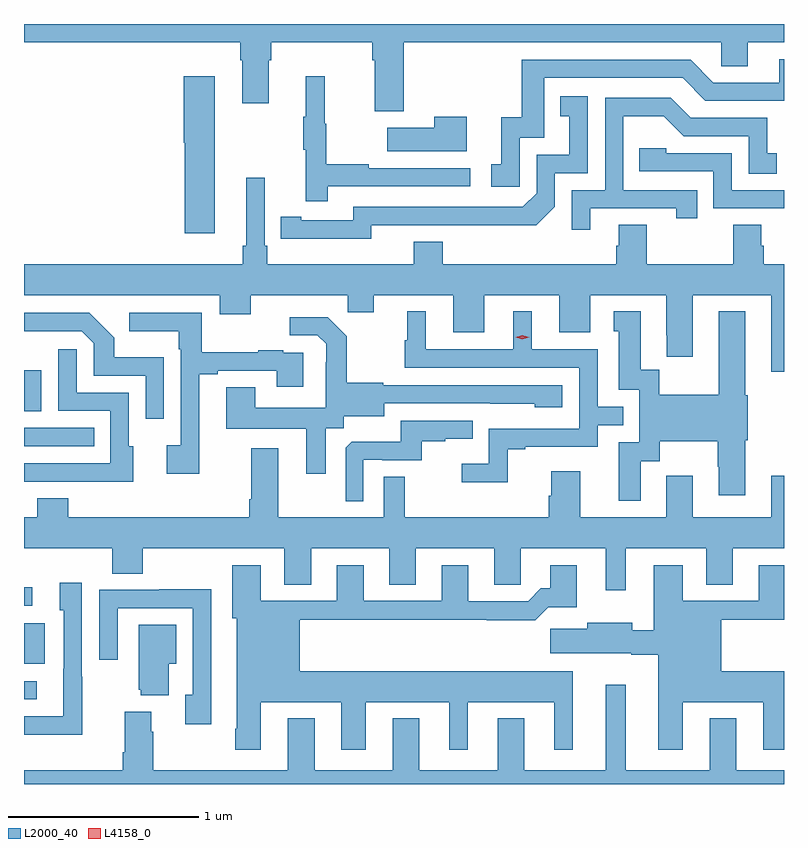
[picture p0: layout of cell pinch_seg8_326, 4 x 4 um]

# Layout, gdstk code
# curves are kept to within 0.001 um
import gdstk
lib = gdstk.Library(unit=1e-6, precision=1e-09)
def R(c, l, rs):  # rectangles x0, y0, x1, y1
    for r in rs: c.add(gdstk.rectangle(r[:2], r[2:], *l))
def P(c, l, *ps):  # polygons
    for p in ps: c.add(gdstk.Polygon(p, *l))
L2000_40 = (2000, 40)
L4158_0 = (4158, 0)

pinch_seg8_326 = lib.new_cell('pinch_seg8_326')
R(pinch_seg8_326, L2000_40, [(397.16,1122.366,397.228,1122.462), (397.16,1122.554,397.27,1122.766), (397.16,1122.858,397.204,1122.956), (397.16,1123.698,397.529,1123.794), (397.16,1123.883,397.252,1124.098)])
P(pinch_seg8_326, L2000_40, [(399.158,1125.824),(400.83,1125.824),(400.83,1125.697),(400.969,1125.697),(400.969,1125.824),(401.16,1125.824),(401.16,1125.92),(397.16,1125.92),(397.16,1125.824),(398.297,1125.824),(398.297,1125.728),(398.309,1125.728),(398.309,1125.504),(398.449,1125.504),(398.449,1125.728),(398.462,1125.728),(398.462,1125.824),(398.993,1125.824),(398.993,1125.728),(399.005,1125.728),(399.005,1125.462),(399.158,1125.462)],
  [(399.768,1125.321),(399.897,1125.321),(399.897,1125.636),(400.626,1125.636),(400.746,1125.516),(401.16,1125.516),(401.16,1125.735),(401.135,1125.735),(401.135,1125.612),(400.788,1125.612),(400.668,1125.732),(399.781,1125.732),(399.781,1125.43),(399.671,1125.43),(399.671,1125.183),(399.618,1125.183),(399.618,1125.063),(399.768,1125.063)],
  [(398.759,1125.066),(399.508,1125.066),(399.508,1125.162),(398.975,1125.162),(398.975,1125.182),(398.752,1125.182),(398.752,1125.396),(398.744,1125.396),(398.744,1125.646),(398.642,1125.646),(398.642,1125.433),(398.631,1125.433),(398.631,1125.259),(398.642,1125.259),(398.642,1124.988),(398.759,1124.988)],
  [(398.164,1125.646),(398,1125.646),(398,1125.294),(398.006,1125.294),(398.006,1124.82),(398.164,1124.82)],
  [(398.988,1124.862),(399.856,1124.861),(399.954,1124.958),(399.954,1125.135),(400.128,1125.135),(400.128,1125.541),(399.982,1125.541),(399.982,1125.435),(400.031,1125.435),(400.031,1125.231),(399.858,1125.231),(399.858,1125.03),(399.786,1124.958),(398.892,1124.958),(398.892,1124.886),(398.62,1124.886),(398.62,1124.906),(398.512,1124.906),(398.512,1124.79),(398.988,1124.789)],
  [(400.141,1124.949),(400.592,1124.949),(400.592,1124.898),(400.703,1124.898),(400.703,1125.045),(400.314,1125.045),(400.314,1125.434),(400.528,1125.434),(400.632,1125.33),(400.974,1125.33),(400.974,1125.132),(401.122,1125.132),(401.122,1125.241),(401.073,1125.241),(401.073,1125.426),(400.669,1125.426),(400.564,1125.531),(400.218,1125.531),(400.218,1125.045),(400.044,1125.045),(400.044,1124.838),(400.141,1124.838)],
  [(399.49,1125.433),(399.32,1125.433),(399.32,1125.373),(399.071,1125.373),(399.071,1125.251),(399.49,1125.251)],
  [(401.16,1125.045),(400.884,1125.045),(400.884,1125.24),(400.539,1125.24),(400.539,1125.267),(400.399,1125.267),(400.399,1125.144),(400.788,1125.144),(400.788,1124.949),(401.16,1124.949)],
  [(400.894,1124.864),(400.894,1124.656),(400.437,1124.656),(400.437,1124.864),(400.289,1124.864),(400.289,1124.754),(400.277,1124.754),(400.277,1124.656),(399.365,1124.656),(399.365,1124.773),(399.212,1124.773),(399.212,1124.656),(398.441,1124.656),(398.441,1124.752),(398.427,1124.752),(398.427,1125.112),(398.33,1125.112),(398.33,1124.752),(398.311,1124.752),(398.311,1124.656),(397.16,1124.656),(397.16,1124.492),(398.189,1124.492),(398.189,1124.393),(398.353,1124.393),(398.353,1124.492),(398.863,1124.492),(398.863,1124.402),(399.001,1124.402),(399.001,1124.492),(399.419,1124.492),(399.419,1124.298),(399.583,1124.298),(399.583,1124.492),(399.977,1124.492),(399.977,1124.298),(400.141,1124.298),(400.141,1124.492),(400.541,1124.492),(400.541,1124.281),(400.544,1124.281),(400.544,1124.169),(400.681,1124.169),(400.681,1124.492),(401.093,1124.492),(401.093,1124.091),(401.16,1124.091),(401.16,1124.656),(401.054,1124.656),(401.054,1124.754),(401.041,1124.754),(401.041,1124.864)],
  [(400.405,1123.618),(400.507,1123.618),(400.507,1123.724),(400.81,1123.724),(400.81,1123.59),(400.817,1123.59),(400.817,1123.44),(400.957,1123.44),(400.957,1123.728),(400.97,1123.728),(400.97,1123.965),(400.957,1123.965),(400.957,1124.407),(400.817,1124.407),(400.817,1123.969),(400.503,1123.969),(400.503,1124.099),(400.405,1124.099),(400.405,1124.407),(400.265,1124.407),(400.265,1124.304),(400.289,1124.304),(400.289,1123.995),(400.398,1123.995),(400.398,1123.719),(400.289,1123.719),(400.289,1123.41),(400.405,1123.41)],
  [(399.705,1123.683),(399.799,1123.683),(399.799,1123.695),(400.179,1123.695),(400.179,1123.809),(400.313,1123.809),(400.313,1123.905),(400.179,1123.905),(400.179,1124.208),(399.832,1124.208),(399.832,1124.407),(399.734,1124.407),(399.734,1124.208),(399.274,1124.208),(399.274,1124.407),(399.176,1124.407),(399.176,1124.256),(399.165,1124.256),(399.165,1124.112),(400.083,1124.112),(400.083,1123.791),(399.606,1123.791),(399.606,1123.606),(399.465,1123.606),(399.465,1123.508),(399.705,1123.508)],
  [(397.896,1124.167),(397.635,1124.167),(397.635,1124.27),(397.504,1124.4),(397.16,1124.4),(397.16,1124.303),(397.464,1124.304),(397.527,1124.241),(397.527,1124.07),(397.8,1124.07),(397.8,1123.842),(397.896,1123.842)],
  [(398.083,1124.076),(398.179,1124.076),(398.179,1124.094),(398.489,1124.094),(398.489,1124.01),(398.629,1124.01),(398.629,1124.19),(398.525,1124.19),(398.525,1124.203),(398.393,1124.203),(398.393,1124.192),(398.095,1124.192),(398.095,1124.4),(397.713,1124.4),(397.713,1124.303),(397.974,1124.303),(397.974,1124.207),(397.986,1124.207),(397.986,1123.702),(397.911,1123.702),(397.911,1123.554),(398.083,1123.554)],
  [(398.749,1123.792),(398.844,1123.792),(398.844,1123.856),(399.055,1123.856),(399.055,1123.923),(399.849,1123.922),(399.849,1123.904),(399.994,1123.904),(399.994,1124.019),(399.051,1124.019),(399.051,1124.032),(398.859,1124.032),(398.859,1124.277),(398.759,1124.377),(398.559,1124.377),(398.559,1124.283),(398.703,1124.283),(398.75,1124.236),(398.75,1124.141),(398.748,1124.141),(398.748,1123.9),(398.377,1123.9),(398.377,1124.009),(398.225,1124.009),(398.225,1123.79),(398.645,1123.79),(398.645,1123.554),(398.749,1123.554)],
  [(397.735,1123.698),(397.71,1123.698),(397.71,1123.98),(397.437,1123.98),(397.437,1124.209),(397.341,1124.209),(397.341,1123.884),(397.614,1123.884),(397.614,1123.608),(397.16,1123.608),(397.16,1123.512),(397.517,1123.512),(397.517,1123.511),(397.735,1123.511)],
  [(398.946,1123.626),(399.046,1123.626),(399.046,1123.623),(399.254,1123.623),(399.254,1123.725),(399.377,1123.725),(399.377,1123.736),(399.521,1123.736),(399.521,1123.833),(399.144,1123.833),(399.144,1123.721),(398.885,1123.721),(398.853,1123.689),(398.853,1123.409),(398.946,1123.409)],
  [(400.327,1123.16),(400.751,1123.16),(400.751,1122.97),(400.891,1122.97),(400.891,1123.16),(401.16,1123.16),(401.16,1123.543),(401.093,1123.543),(401.093,1123.324),(400.681,1123.324),(400.681,1123.543),(400.541,1123.543),(400.541,1123.324),(400.087,1123.324),(400.087,1123.567),(399.935,1123.567),(399.935,1123.437),(399.923,1123.437),(399.923,1123.324),(399.163,1123.324),(399.163,1123.538),(399.054,1123.538),(399.054,1123.324),(398.497,1123.324),(398.497,1123.687),(398.357,1123.687),(398.357,1123.42),(398.345,1123.42),(398.345,1123.324),(397.393,1123.324),(397.393,1123.423),(397.229,1123.423),(397.229,1123.324),(397.16,1123.324),(397.16,1123.16),(397.625,1123.16),(397.625,1123.027),(397.785,1123.027),(397.785,1123.16),(398.531,1123.16),(398.531,1122.97),(398.671,1122.97),(398.671,1123.16),(399.083,1123.16),(399.083,1122.97),(399.223,1122.97),(399.223,1123.16),(399.635,1123.16),(399.635,1122.97),(399.774,1122.97),(399.774,1123.16),(400.223,1123.16),(400.223,1122.939),(400.327,1122.939)],
  [(400.627,1122.35),(401.051,1122.35),(401.051,1122.099),(401.16,1122.099),(401.16,1122.514),(400.831,1122.514),(400.831,1122.784),(401.16,1122.784),(401.16,1123.072),(401.027,1123.072),(401.027,1122.885),(400.627,1122.885),(400.627,1123.072),(400.475,1123.072),(400.475,1122.73),(400.36,1122.73),(400.36,1122.769),(400.124,1122.769),(400.124,1122.737),(399.93,1122.737),(399.93,1122.608),(400.356,1122.608),(400.356,1122.601),(400.499,1122.601),(400.499,1122.099),(400.627,1122.099)],
  [(398.407,1122.35),(398.831,1122.35),(398.831,1122.099),(398.959,1122.099),(398.959,1122.35),(399.398,1122.35),(399.398,1122.099),(399.496,1122.099),(399.496,1122.35),(399.95,1122.35),(399.95,1122.099),(400.048,1122.099),(400.048,1122.514),(398.611,1122.514),(398.611,1122.784),(399.595,1122.784),(399.595,1122.782),(399.851,1122.782),(399.92,1122.851),(400.069,1122.851),(400.069,1123.072),(399.929,1123.072),(399.929,1122.949),(399.88,1122.949),(399.813,1122.882),(399.499,1122.882),(399.499,1123.072),(399.359,1123.072),(399.359,1122.885),(398.947,1122.885),(398.947,1123.072),(398.807,1123.072),(398.807,1122.885),(398.407,1122.885),(398.407,1123.072),(398.255,1123.072),(398.255,1122.792),(398.279,1122.792),(398.279,1122.211),(398.272,1122.211),(398.272,1122.099),(398.407,1122.099)],
  [(397.467,1122.485),(397.464,1122.485),(397.464,1122.979),(397.349,1122.979),(397.349,1122.834),(397.368,1122.834),(397.368,1122.527),(397.367,1122.527),(397.367,1122.276),(397.16,1122.276),(397.16,1122.179),(397.467,1122.179)],
  [(398.146,1122.692),(398.145,1122.692),(398.145,1122.944),(397.873,1122.944),(397.873,1122.942),(397.557,1122.942),(397.557,1122.573),(397.653,1122.573),(397.653,1122.846),(398.049,1122.846),(398.049,1122.39),(398.009,1122.39),(398.009,1122.234),(398.146,1122.234)],
  [(397.921,1122.554),(397.96,1122.554),(397.96,1122.757),(397.763,1122.757),(397.763,1122.417),(397.775,1122.417),(397.775,1122.386),(397.921,1122.386)],
  [(397.839,1122.194),(397.831,1122.194),(397.831,1122.301),(397.691,1122.301),(397.691,1122.088),(397.679,1122.088),(397.679,1121.992),(397.16,1121.992),(397.16,1121.92),(401.16,1121.92),(401.16,1121.992),(400.909,1121.992),(400.909,1122.265),(400.769,1122.265),(400.769,1121.992),(400.327,1121.992),(400.327,1122.442),(400.223,1122.442),(400.223,1121.992),(399.793,1121.992),(399.793,1122.265),(399.653,1122.265),(399.653,1121.992),(399.241,1121.992),(399.241,1122.265),(399.101,1122.265),(399.101,1121.992),(398.689,1121.992),(398.689,1122.265),(398.549,1122.265),(398.549,1121.992),(397.839,1121.992)])
P(pinch_seg8_326, L4158_0, [(399.783,1124.261),(399.747,1124.271),(399.747,1124.271),(399.747,1124.272),(399.783,1124.281),(399.819,1124.272),(399.819,1124.271),(399.819,1124.271)])

lib.write_gds('pinch_seg8_326.gds')
